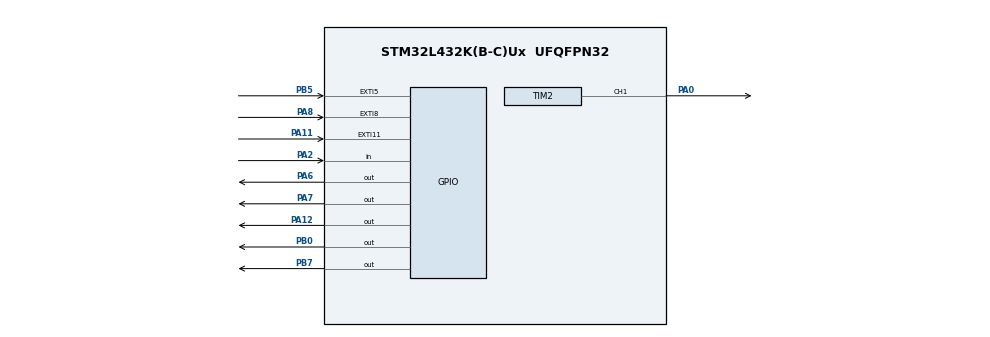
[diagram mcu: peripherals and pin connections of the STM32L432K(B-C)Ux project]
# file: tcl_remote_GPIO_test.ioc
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Mcu.Family=STM32L4
Mcu.Name=STM32L432K(B-C)Ux
Mcu.Package=UFQFPN32
NVIC.EXTI15_10_IRQn=true\:0\:0\:false\:false\:true\:true\:true\:true
NVIC.EXTI9_5_IRQn=true\:0\:0\:false\:false\:true\:true\:true\:true
NVIC.PriorityGroup=NVIC_PRIORITYGROUP_4
NVIC.TIM7_IRQn=true\:1\:0\:true\:false\:true\:true\:true\:true
PA0.Signal=S_TIM2_CH1
PA11.GPIO_PuPd=GPIO_PULLDOWN
PA11.Signal=GPXTI11
PA12.Signal=GPIO_Output
PA2.Signal=GPIO_Input
PA6.Signal=GPIO_Output
PA7.Signal=GPIO_Output
PA8.GPIO_PuPd=GPIO_PULLDOWN
PA8.Signal=GPXTI8
PB0.Signal=GPIO_Output
PB5.GPIO_PuPd=GPIO_PULLDOWN
PB5.Signal=GPXTI5
PB7.Signal=GPIO_Output
ProjectManager.HeapSize=0x200
ProjectManager.StackSize=0x400
ProjectManager.TargetToolchain=STM32CubeIDE
RCC.HSE_VALUE=8000000
RCC.HSI48_VALUE=48000000
RCC.HSI_VALUE=16000000
RCC.LSE_VALUE=32768
RCC.MSI_VALUE=4000000
RCC.VCOOutputFreq_Value=32000000
SH.S_TIM2_CH1.0=TIM2_CH1,PWM Generation1 CH1
TIM1.Period=60000
TIM1.Prescaler=4-1
TIM15.Prescaler=4000-1
TIM2.AutoReloadPreload=TIM_AUTORELOAD_PRELOAD_ENABLE
TIM2.Channel-PWM\ Generation1\ CH1=TIM_CHANNEL_1
TIM2.Period=104
TIM7.AutoReloadPreload=TIM_AUTORELOAD_PRELOAD_ENABLE
TIM7.Period=1000-1
TIM7.Prescaler=4-1
VP_TIM15_VS_ClockSourceINT.Mode=Internal
VP_TIM1_VS_ClockSourceINT.Mode=Internal
VP_TIM2_VS_ClockSourceINT.Mode=Internal
VP_TIM7_VS_ClockSourceINT.Mode=Enable_Timer
board=custom

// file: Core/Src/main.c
/* USER CODE BEGIN Header */
/**
  ******************************************************************************
  * @file           : main.c
  * @brief          : Main program body
  ******************************************************************************
  * @attention
  *
  * Copyright (c) 2023 STMicroelectronics.
  * All rights reserved.
  *
  * This software is licensed under terms that can be found in the LICENSE file
  * in the root directory of this software component.
  * If no LICENSE file comes with this software, it is provided AS-IS.
  *
  ******************************************************************************
  */
/* USER CODE END Header */
#include "main.h"

TIM_HandleTypeDef htim1;
TIM_HandleTypeDef htim2;
TIM_HandleTypeDef htim7;
TIM_HandleTypeDef htim15;

/* USER CODE BEGIN PV */
//static int send_signal = 0;
static int button_num = 0;

static int output_state = 0;

enum Remote_States {
	idle,
	send_signal,
	wait_for_input,
	receive_NEC_signal,
	assign_button,
	send_NEC_signal
};

enum Remote_States global_state = idle;

static uint32_t received_data = 0;
static uint32_t queue_data = 0;

// Universal Remote

enum Buttons {
	b0800,
	b0801,
	b1100,
	b4
};

enum Button_function {
	default__,
	alternate_function
};

// Pin 5 Case 0
static enum Button_function b0500_func = default__;
static uint32_t b0500_data;

// Pin 5 Case 1
static enum Button_function b0501_func = default__;
static uint32_t b0501_data;

// Pin 5 Case 2
static enum Button_function b0502_func = default__;
static uint32_t b0502_data;

// Pin 8 Case 0
static enum Button_function b0800_func = default__;
static uint32_t b0800_data;

// Pin 8 Case 1
static enum Button_function b0801_func = default__;
static uint32_t b0801_data;

// Pin 8 Case 2
static enum Button_function b0802_func = default__;
static uint32_t b0802_data;

// Pin 11 Case 2
static enum Button_function b1102_func = default__;
static uint32_t b1102_data;

/* USER CODE END PV */

void SystemClock_Config(void);
static void MX_GPIO_Init(void);
static void MX_TIM1_Init(void);
static void MX_TIM2_Init(void);
static void MX_TIM7_Init(void);
static void MX_TIM15_Init(void);
/* USER CODE BEGIN PFP */
void delay_us(uint16_t us);
/* USER CODE END PFP */

/* USER CODE BEGIN 0 */
void send_bit(int bit) {
	if (bit) {

		TIM2->CCR1 = 52;
		delay_us(1050);
		TIM2->CCR1 = 0;
		delay_us(3050);
	} else {

		TIM2->CCR1 = 52;
		delay_us(1050);
		TIM2->CCR1 = 0;
		delay_us(1050);
	}
}

void delay_us(uint16_t us) {
	__HAL_TIM_SET_COUNTER(&htim1,0);
	while (__HAL_TIM_GET_COUNTER(&htim1) < us);
}

void delay_ms(uint16_t ms) {
//	__HAL_TIM_SET_COUNTER(&htim15,0);
//	while (__HAL_TIM_GET_COUNTER(&htim15) < ms);

	int ms_elapsed = 0;
	while(ms_elapsed < ms) {
		delay_us(1000);
		++ms_elapsed;
	}

}
/* USER CODE END 0 */

int main(void)
{

  /* MCU Configuration--------------------------------------------------------*/

  /* Reset of all peripherals, Initializes the Flash interface and the Systick. */
  HAL_Init();

  /* Configure the system clock */
  SystemClock_Config();

  /* Initialize all configured peripherals */
  MX_GPIO_Init();
  MX_TIM1_Init();
  MX_TIM2_Init();
  MX_TIM7_Init();
  MX_TIM15_Init();
  /* USER CODE BEGIN 2 */

  HAL_TIM_Base_Start(&htim1);
  HAL_TIM_PWM_Start(&htim2, TIM_CHANNEL_1);
  HAL_TIM_Base_Start_IT(&htim7);
  HAL_TIM_Base_Start(&htim15);
  HAL_GPIO_WritePin(GPIOA, GPIO_PIN_1, GPIO_PIN_SET);
//  TIM2->CCR1 = 0;

//  HAL_NVIC_DisableIRQ(EXTI2_IRQn);
  /* USER CODE END 2 */

  /* Infinite loop */
  /* USER CODE BEGIN WHILE */
  while (1)
  {

//	  switchStart:

		switch(global_state) {
		case idle:

			HAL_GPIO_WritePin(GPIOA, GPIO_PIN_7, GPIO_PIN_RESET);
			HAL_GPIO_WritePin(GPIOA, GPIO_PIN_6, GPIO_PIN_RESET);

			break;

		case send_signal:

			for (int t = 0; t < 5; ++t) {
				// Leading frame

				TIM2->CCR1 = 52;
				delay_us(16050);
				TIM2->CCR1 = 0;
				delay_us(8050);

				int checksum = 0;
				int command = button_num;

				// 4-bit command
				for (int i = 0; i < 4; ++i) {
					int bit = 1 & (command >> (3-i));

					if (bit) {
						++checksum;
					}

					send_bit(bit);
				}

				// 3-bit checksum
				for (int i = 0; i < 3; ++i) {
					int bit = 1 & (checksum >> (2-i));

					send_bit(bit);
				}

				// End frame

				TIM2->CCR1 = 52;
				delay_us(2050);
				TIM2->CCR1 = 0;

				delay_us(10000);

			}

			global_state = idle;

			break;

		case wait_for_input:

			HAL_GPIO_WritePin(GPIOA, GPIO_PIN_7, GPIO_PIN_SET);
			HAL_GPIO_WritePin(GPIOA, GPIO_PIN_6, GPIO_PIN_RESET);

			break;

		case receive_NEC_signal:

			HAL_GPIO_WritePin(GPIOA, GPIO_PIN_7, GPIO_PIN_RESET);
			HAL_GPIO_WritePin(GPIOA, GPIO_PIN_6, GPIO_PIN_SET);
			// wait for signal
			while(HAL_GPIO_ReadPin(GPIOA, GPIO_PIN_2) && global_state == receive_NEC_signal);

			if (global_state == receive_NEC_signal) {

				// Leading frame
				while(!HAL_GPIO_ReadPin(GPIOA, GPIO_PIN_2)); // 9ms
				while(HAL_GPIO_ReadPin(GPIOA, GPIO_PIN_2)); // 4.5ms

				// Read 32 bits

				for (int i = 0; i < 32; ++i) {

					while(!HAL_GPIO_ReadPin(GPIOA, GPIO_PIN_2)); // 562.5 us burst

					__HAL_TIM_SET_COUNTER(&htim1,0);
					while(HAL_GPIO_ReadPin(GPIOA, GPIO_PIN_2));

					if (__HAL_TIM_GET_COUNTER(&htim1) > 1000) {

						// 1b
						received_data |= (1 << (31-i));
					}

				}

				while(!HAL_GPIO_ReadPin(GPIOA, GPIO_PIN_2)); // 562.5 us final burst

				HAL_GPIO_WritePin(GPIOA, GPIO_PIN_7, GPIO_PIN_SET);
				HAL_GPIO_WritePin(GPIOA, GPIO_PIN_6, GPIO_PIN_RESET);
				global_state = assign_button;

			} else {

				global_state = idle;

			}

			break;

		case assign_button:

			// bool

			break;
		case send_NEC_signal:

			for (int t = 0; t < 3; ++t) {

				// Leading frame
				TIM2->CCR1 = 52;
				delay_us(8810);
				TIM2->CCR1 = 0;
				delay_us(4454);

				// Send 32-bit data

				for (int i = 0; i < 32; ++i) {

					if (queue_data & (1 << (31-i))) {

						TIM2->CCR1 = 52;
						delay_us(527);
						TIM2->CCR1 = 0;
						delay_us(1670);

					} else {

						TIM2->CCR1 = 52;
						delay_us(527);
						TIM2->CCR1 = 0;
						delay_us(562);

					}

				}

				// Final burst

				TIM2->CCR1 = 52;
				delay_us(527);
				TIM2->CCR1 = 0;

				HAL_Delay(36);

			}

			global_state = idle;

			break;
		}

    /* USER CODE END WHILE */

  }
}

void SystemClock_Config(void)
{
  RCC_OscInitTypeDef RCC_OscInitStruct = {0};
  RCC_ClkInitTypeDef RCC_ClkInitStruct = {0};

  /** Configure the main internal regulator output voltage
  */
  if (HAL_PWREx_ControlVoltageScaling(PWR_REGULATOR_VOLTAGE_SCALE1) != HAL_OK)
  {
    Error_Handler();
  }

  /** Initializes the RCC Oscillators according to the specified parameters
  * in the RCC_OscInitTypeDef structure.
  */
  RCC_OscInitStruct.OscillatorType = RCC_OSCILLATORTYPE_MSI;
  RCC_OscInitStruct.MSIState = RCC_MSI_ON;
  RCC_OscInitStruct.MSICalibrationValue = 0;
  RCC_OscInitStruct.MSIClockRange = RCC_MSIRANGE_6;
  RCC_OscInitStruct.PLL.PLLState = RCC_PLL_NONE;
  if (HAL_RCC_OscConfig(&RCC_OscInitStruct) != HAL_OK)
  {
    Error_Handler();
  }

  /** Initializes the CPU, AHB and APB buses clocks
  */
  RCC_ClkInitStruct.ClockType = RCC_CLOCKTYPE_HCLK|RCC_CLOCKTYPE_SYSCLK
                              |RCC_CLOCKTYPE_PCLK1|RCC_CLOCKTYPE_PCLK2;
  RCC_ClkInitStruct.SYSCLKSource = RCC_SYSCLKSOURCE_MSI;
  RCC_ClkInitStruct.AHBCLKDivider = RCC_SYSCLK_DIV1;
  RCC_ClkInitStruct.APB1CLKDivider = RCC_HCLK_DIV1;
  RCC_ClkInitStruct.APB2CLKDivider = RCC_HCLK_DIV1;

  if (HAL_RCC_ClockConfig(&RCC_ClkInitStruct, FLASH_LATENCY_0) != HAL_OK)
  {
    Error_Handler();
  }
}

static void MX_TIM1_Init(void)
{

  TIM_ClockConfigTypeDef sClockSourceConfig = {0};
  TIM_MasterConfigTypeDef sMasterConfig = {0};

  htim1.Instance = TIM1;
  htim1.Init.Prescaler = 4-1;
  htim1.Init.CounterMode = TIM_COUNTERMODE_UP;
  htim1.Init.Period = 60000;
  htim1.Init.ClockDivision = TIM_CLOCKDIVISION_DIV1;
  htim1.Init.RepetitionCounter = 0;
  htim1.Init.AutoReloadPreload = TIM_AUTORELOAD_PRELOAD_DISABLE;
  if (HAL_TIM_Base_Init(&htim1) != HAL_OK)
  {
    Error_Handler();
  }
  sClockSourceConfig.ClockSource = TIM_CLOCKSOURCE_INTERNAL;
  if (HAL_TIM_ConfigClockSource(&htim1, &sClockSourceConfig) != HAL_OK)
  {
    Error_Handler();
  }
  sMasterConfig.MasterOutputTrigger = TIM_TRGO_RESET;
  sMasterConfig.MasterOutputTrigger2 = TIM_TRGO2_RESET;
  sMasterConfig.MasterSlaveMode = TIM_MASTERSLAVEMODE_DISABLE;
  if (HAL_TIMEx_MasterConfigSynchronization(&htim1, &sMasterConfig) != HAL_OK)
  {
    Error_Handler();
  }

}

static void MX_TIM2_Init(void)
{

  TIM_ClockConfigTypeDef sClockSourceConfig = {0};
  TIM_MasterConfigTypeDef sMasterConfig = {0};
  TIM_OC_InitTypeDef sConfigOC = {0};

  htim2.Instance = TIM2;
  htim2.Init.Prescaler = 0;
  htim2.Init.CounterMode = TIM_COUNTERMODE_UP;
  htim2.Init.Period = 104;
  htim2.Init.ClockDivision = TIM_CLOCKDIVISION_DIV1;
  htim2.Init.AutoReloadPreload = TIM_AUTORELOAD_PRELOAD_ENABLE;
  if (HAL_TIM_Base_Init(&htim2) != HAL_OK)
  {
    Error_Handler();
  }
  sClockSourceConfig.ClockSource = TIM_CLOCKSOURCE_INTERNAL;
  if (HAL_TIM_ConfigClockSource(&htim2, &sClockSourceConfig) != HAL_OK)
  {
    Error_Handler();
  }
  if (HAL_TIM_PWM_Init(&htim2) != HAL_OK)
  {
    Error_Handler();
  }
  sMasterConfig.MasterOutputTrigger = TIM_TRGO_RESET;
  sMasterConfig.MasterSlaveMode = TIM_MASTERSLAVEMODE_DISABLE;
  if (HAL_TIMEx_MasterConfigSynchronization(&htim2, &sMasterConfig) != HAL_OK)
  {
    Error_Handler();
  }
  sConfigOC.OCMode = TIM_OCMODE_PWM1;
  sConfigOC.Pulse = 0;
  sConfigOC.OCPolarity = TIM_OCPOLARITY_HIGH;
  sConfigOC.OCFastMode = TIM_OCFAST_DISABLE;
  if (HAL_TIM_PWM_ConfigChannel(&htim2, &sConfigOC, TIM_CHANNEL_1) != HAL_OK)
  {
    Error_Handler();
  }
  HAL_TIM_MspPostInit(&htim2);

}

static void MX_TIM7_Init(void)
{

  TIM_MasterConfigTypeDef sMasterConfig = {0};

  htim7.Instance = TIM7;
  htim7.Init.Prescaler = 4-1;
  htim7.Init.CounterMode = TIM_COUNTERMODE_UP;
  htim7.Init.Period = 1000-1;
  htim7.Init.AutoReloadPreload = TIM_AUTORELOAD_PRELOAD_ENABLE;
  if (HAL_TIM_Base_Init(&htim7) != HAL_OK)
  {
    Error_Handler();
  }
  sMasterConfig.MasterOutputTrigger = TIM_TRGO_RESET;
  sMasterConfig.MasterSlaveMode = TIM_MASTERSLAVEMODE_DISABLE;
  if (HAL_TIMEx_MasterConfigSynchronization(&htim7, &sMasterConfig) != HAL_OK)
  {
    Error_Handler();
  }

}

static void MX_TIM15_Init(void)
{

  TIM_ClockConfigTypeDef sClockSourceConfig = {0};
  TIM_MasterConfigTypeDef sMasterConfig = {0};

  htim15.Instance = TIM15;
  htim15.Init.Prescaler = 4000-1;
  htim15.Init.CounterMode = TIM_COUNTERMODE_UP;
  htim15.Init.Period = 65535;
  htim15.Init.ClockDivision = TIM_CLOCKDIVISION_DIV1;
  htim15.Init.RepetitionCounter = 0;
  htim15.Init.AutoReloadPreload = TIM_AUTORELOAD_PRELOAD_DISABLE;
  if (HAL_TIM_Base_Init(&htim15) != HAL_OK)
  {
    Error_Handler();
  }
  sClockSourceConfig.ClockSource = TIM_CLOCKSOURCE_INTERNAL;
  if (HAL_TIM_ConfigClockSource(&htim15, &sClockSourceConfig) != HAL_OK)
  {
    Error_Handler();
  }
  sMasterConfig.MasterOutputTrigger = TIM_TRGO_RESET;
  sMasterConfig.MasterSlaveMode = TIM_MASTERSLAVEMODE_DISABLE;
  if (HAL_TIMEx_MasterConfigSynchronization(&htim15, &sMasterConfig) != HAL_OK)
  {
    Error_Handler();
  }

}

static void MX_GPIO_Init(void)
{
  GPIO_InitTypeDef GPIO_InitStruct = {0};

  /* GPIO Ports Clock Enable */
  __HAL_RCC_GPIOA_CLK_ENABLE();
  __HAL_RCC_GPIOB_CLK_ENABLE();

  /*Configure GPIO pin Output Level */
  HAL_GPIO_WritePin(GPIOA, GPIO_PIN_6|GPIO_PIN_7|GPIO_PIN_12, GPIO_PIN_RESET);

  /*Configure GPIO pin Output Level */
  HAL_GPIO_WritePin(GPIOB, GPIO_PIN_0|GPIO_PIN_7, GPIO_PIN_RESET);

  /*Configure GPIO pin : PA2 */
  GPIO_InitStruct.Pin = GPIO_PIN_2;
  GPIO_InitStruct.Mode = GPIO_MODE_INPUT;
  GPIO_InitStruct.Pull = GPIO_NOPULL;
  HAL_GPIO_Init(GPIOA, &GPIO_InitStruct);

  /*Configure GPIO pins : PA6 PA7 PA12 */
  GPIO_InitStruct.Pin = GPIO_PIN_6|GPIO_PIN_7|GPIO_PIN_12;
  GPIO_InitStruct.Mode = GPIO_MODE_OUTPUT_PP;
  GPIO_InitStruct.Pull = GPIO_NOPULL;
  GPIO_InitStruct.Speed = GPIO_SPEED_FREQ_LOW;
  HAL_GPIO_Init(GPIOA, &GPIO_InitStruct);

  /*Configure GPIO pins : PB0 PB7 */
  GPIO_InitStruct.Pin = GPIO_PIN_0|GPIO_PIN_7;
  GPIO_InitStruct.Mode = GPIO_MODE_OUTPUT_PP;
  GPIO_InitStruct.Pull = GPIO_NOPULL;
  GPIO_InitStruct.Speed = GPIO_SPEED_FREQ_LOW;
  HAL_GPIO_Init(GPIOB, &GPIO_InitStruct);

  /*Configure GPIO pins : PA8 PA11 */
  GPIO_InitStruct.Pin = GPIO_PIN_8|GPIO_PIN_11;
  GPIO_InitStruct.Mode = GPIO_MODE_IT_RISING;
  GPIO_InitStruct.Pull = GPIO_PULLDOWN;
  HAL_GPIO_Init(GPIOA, &GPIO_InitStruct);

  /*Configure GPIO pin : PB5 */
  GPIO_InitStruct.Pin = GPIO_PIN_5;
  GPIO_InitStruct.Mode = GPIO_MODE_IT_RISING;
  GPIO_InitStruct.Pull = GPIO_PULLDOWN;
  HAL_GPIO_Init(GPIOB, &GPIO_InitStruct);

  /* EXTI interrupt init*/
  HAL_NVIC_SetPriority(EXTI9_5_IRQn, 0, 0);
  HAL_NVIC_EnableIRQ(EXTI9_5_IRQn);

  HAL_NVIC_SetPriority(EXTI15_10_IRQn, 0, 0);
  HAL_NVIC_EnableIRQ(EXTI15_10_IRQn);

}

/* USER CODE BEGIN 4 */
void HAL_GPIO_EXTI_Callback(uint16_t GPIO_Pin) {

		if (GPIO_Pin == GPIO_PIN_5) {

			switch(output_state) {
			case 0:

				switch(global_state) {
				case idle:

					switch(b0500_func) {
					case default__:

//						button_num = 0;
//						global_state = send_signal;

						queue_data = 0xCDFE4D18;
						global_state = send_NEC_signal;

						break;
					case alternate_function:

						queue_data = b0500_data;
						global_state = send_NEC_signal;

						break;
					}

					break;
					case send_signal:

						// bool

						break;
					case wait_for_input:

						b0500_func = default__;
						global_state = idle;

						break;
					case receive_NEC_signal:

						// bool

						break;
					case assign_button:

						b0500_func = alternate_function;
						b0500_data = received_data;

						received_data = 0;
						global_state = idle;

						break;
					case send_NEC_signal:
						// bool
						break;
				}

				break;

				case 1:

					switch(global_state) {
					case idle:

						switch(b0501_func) {
						case default__:

//							button_num = 1;
//							global_state = send_signal;

							queue_data = 0xD4081C98;
							global_state = send_NEC_signal;

							break;
						case alternate_function:

							queue_data = b0501_data;
							global_state = send_NEC_signal;

							break;
						}

						break;
						case send_signal:

							// bool

							break;
						case wait_for_input:

							b0501_func = default__;
							global_state = idle;

							break;
						case receive_NEC_signal:

							// bool

							break;
						case assign_button:

							b0501_func = alternate_function;
							b0501_data = received_data;

							received_data = 0;
							global_state = idle;

							break;
						case send_NEC_signal:
							// bool
							break;
					}

					break;

				case 2:

					switch(global_state) {
					case idle:

						switch(b0502_func) {
						case default__:

//							button_num = 2;
//							global_state = send_signal;

							queue_data = 0xF51E64D2;
							global_state = send_NEC_signal;

							break;
						case alternate_function:

							queue_data = b0502_data;
							global_state = send_NEC_signal;

							break;
						}

						break;
						case send_signal:

							// bool

							break;
						case wait_for_input:

							b0502_func = default__;
							global_state = idle;

							break;
						case receive_NEC_signal:

							// bool

							break;
						case assign_button:

							b0502_func = alternate_function;
							b0502_data = received_data;

							received_data = 0;
							global_state = idle;

							break;
						case send_NEC_signal:
							// bool
							break;
					}

					break;
			}

		}

		if (GPIO_Pin == GPIO_PIN_8) {

			switch(output_state) {
			case 0:

				switch(global_state) {
				case idle:

					switch(b0800_func) {
					case default__:

						button_num = 3;
						global_state = send_signal;

						break;
					case alternate_function:

						queue_data = b0800_data;
						global_state = send_NEC_signal;

						break;
					}

					break;
					case send_signal:

						// bool

						break;
					case wait_for_input:

						b0800_func = default__;
						global_state = idle;

						break;
					case receive_NEC_signal:

						// bool

						break;
					case assign_button:

						b0800_func = alternate_function;
						b0800_data = received_data;

						received_data = 0;
						global_state = idle;

						break;
					case send_NEC_signal:
						// bool
						break;
				}

				break;

				case 1:

					switch(global_state) {
					case idle:

						switch(b0801_func) {
						case default__:

							button_num = 4;
							global_state = send_signal;

							break;
						case alternate_function:

							queue_data = b0801_data;
							global_state = send_NEC_signal;

							break;
						}

						break;
						case send_signal:

							// bool

							break;
						case wait_for_input:

							b0801_func = default__;
							global_state = idle;

							break;
						case receive_NEC_signal:

							// bool

							break;
						case assign_button:

							b0801_func = alternate_function;
							b0801_data = received_data;

							received_data = 0;
							global_state = idle;

							break;
						case send_NEC_signal:
							// bool
							break;
					}

					break;

				case 2:

					switch(global_state) {
					case idle:

						switch(b0802_func) {
						case default__:

							button_num = 5;
							global_state = send_signal;

							break;
						case alternate_function:

							queue_data = b0802_data;
							global_state = send_NEC_signal;

							break;
						}

						break;
						case send_signal:

							// bool

							break;
						case wait_for_input:

							b0802_func = default__;
							global_state = idle;

							break;
						case receive_NEC_signal:

							// bool

							break;
						case assign_button:

							b0802_func = alternate_function;
							b0802_data = received_data;

							received_data = 0;
							global_state = idle;

							break;
						case send_NEC_signal:
							// bool
							break;
					}

					break;
			}
		}

		if (GPIO_Pin == GPIO_PIN_11) {
			switch(output_state) {

			// Secondary Program Button
			case 0:

				switch(global_state) {
				case idle:

					break;

					case send_signal:

						// bool

						break;
					case wait_for_input:

						global_state = receive_NEC_signal;
						delay_ms(500);

						break;
					case receive_NEC_signal:

						// bool

						break;
					case assign_button:

						break;
					case send_NEC_signal:
						// bool
						break;
				}

				break;

			// Primary Program Button
			case 1:

				switch(global_state) {
				case idle:

					global_state = wait_for_input;

					delay_ms(500);

					break;
				case send_signal:
					// bool
					break;
				case wait_for_input:

					break;
				case receive_NEC_signal:
					// bool

					global_state = idle;
					delay_ms(500);
					break;
				case assign_button:
					received_data = 0;

					global_state = idle;
					delay_ms(500);
					break;

				case send_NEC_signal:
					// bool
					break;
				}

				break;

			case 2:

				switch(global_state) {
				case idle:

					switch(b1102_func) {
					case default__:

						button_num = 6;
						global_state = send_signal;

						break;
					case alternate_function:

						queue_data = b1102_data;
						global_state = send_NEC_signal;

						break;
					}

					break;
					case send_signal:

						// bool

						break;
					case wait_for_input:

						b1102_func = default__;
						global_state = idle;

						break;
					case receive_NEC_signal:

						// bool

						break;
					case assign_button:

						b1102_func = alternate_function;
						b1102_data = received_data;

						received_data = 0;
						global_state = idle;

						break;
					case send_NEC_signal:
						// bool
						break;
				}

				break;
			}
		}

//	}

}

void HAL_TIM_PeriodElapsedCallback(TIM_HandleTypeDef* htim) {
	++output_state;

	if (output_state == 3) {
		output_state = 0;
	}

	switch(output_state) {
	case 0:
		HAL_GPIO_WritePin(GPIOA, GPIO_PIN_12, GPIO_PIN_RESET);
		HAL_GPIO_WritePin(GPIOB, GPIO_PIN_0, GPIO_PIN_SET);
		HAL_GPIO_WritePin(GPIOB, GPIO_PIN_7, GPIO_PIN_RESET);
		break;
	case 1:
		HAL_GPIO_WritePin(GPIOB, GPIO_PIN_0, GPIO_PIN_RESET);
		HAL_GPIO_WritePin(GPIOA, GPIO_PIN_12, GPIO_PIN_SET);
		HAL_GPIO_WritePin(GPIOB, GPIO_PIN_7, GPIO_PIN_RESET);
		break;
	case 2:
		HAL_GPIO_WritePin(GPIOB, GPIO_PIN_0, GPIO_PIN_RESET);
		HAL_GPIO_WritePin(GPIOA, GPIO_PIN_12, GPIO_PIN_RESET);
		HAL_GPIO_WritePin(GPIOB, GPIO_PIN_7, GPIO_PIN_SET);
		break;
	}
}
/* USER CODE END 4 */

void Error_Handler(void)
{
  __disable_irq();
  while (1)
  {
  }
}
